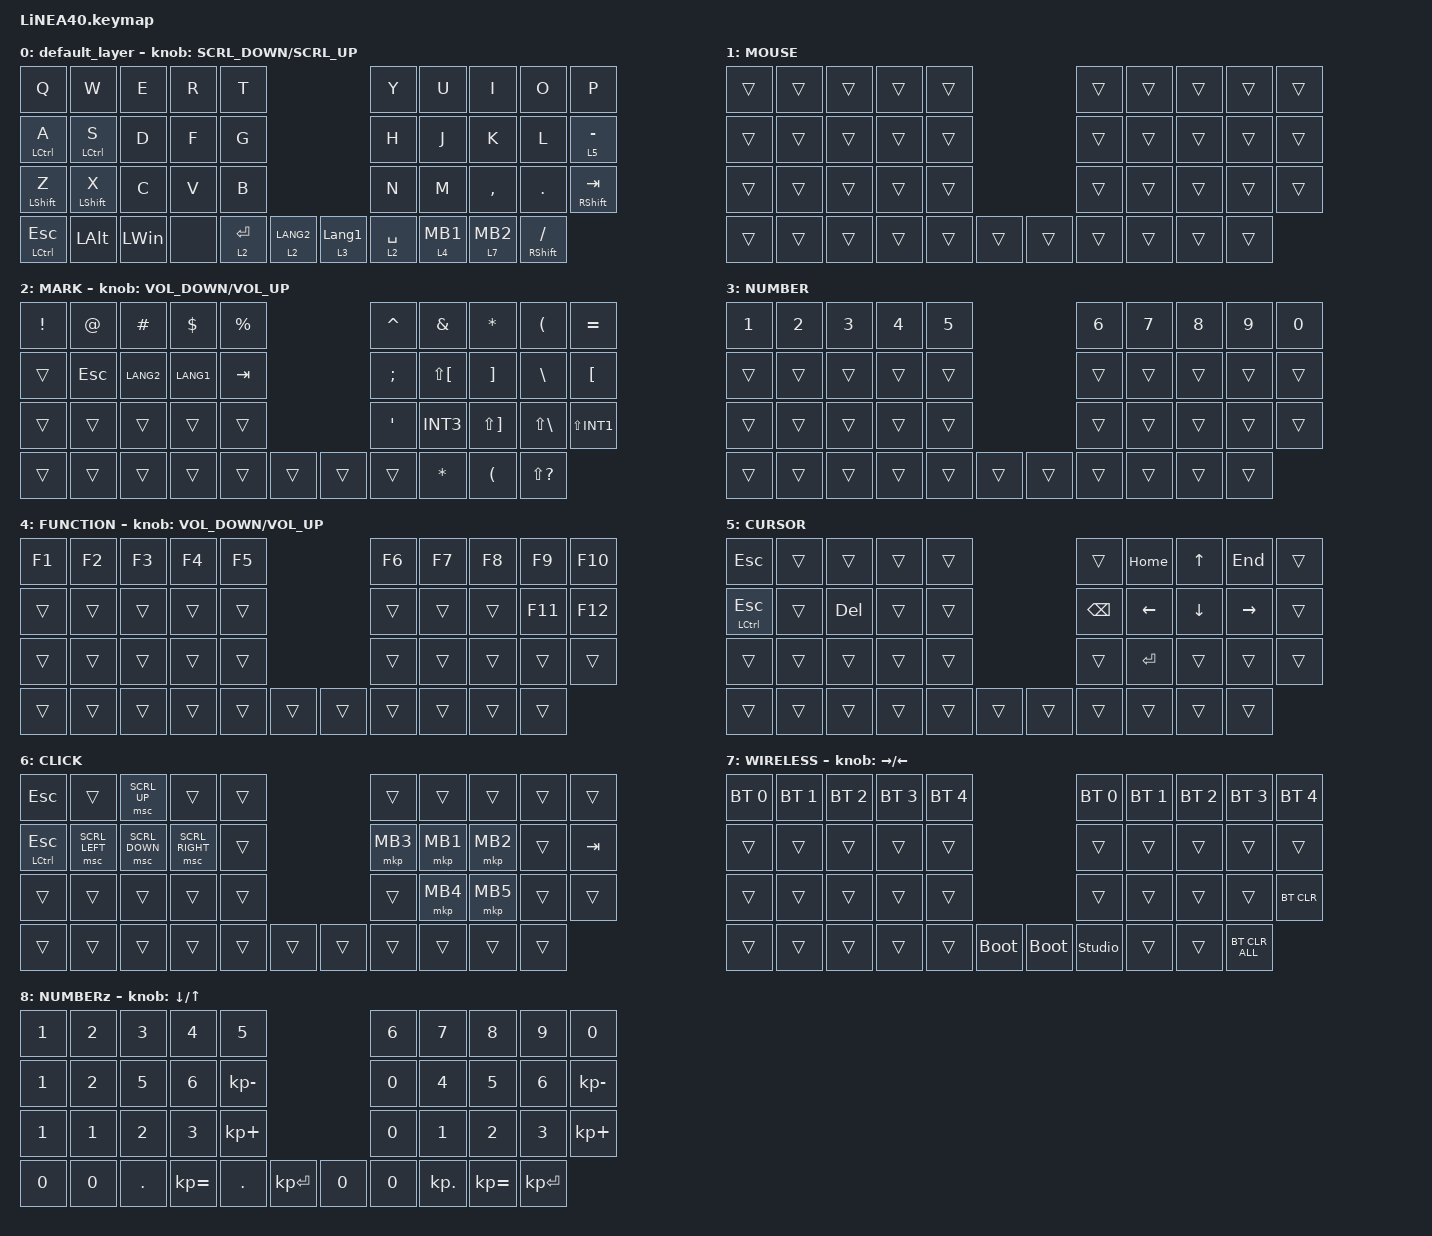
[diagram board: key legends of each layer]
#define ZMK_POINTING_DEFAULT_SCRL_VAL 150

#include <dt-bindings/zmk/input_transform.h>
#include <input/processors.dtsi>
#include <zephyr/dt-bindings/input/input-event-codes.h>
#include <behaviors.dtsi>
#include <dt-bindings/zmk/bt.h>
#include <dt-bindings/zmk/keys.h>
#include <dt-bindings/zmk/pointing.h>

#define MOUSE 1
#define MARK 2
#define CURSOR 3
#define FUNCTION 4
#define SCROLL 5
#define WIRELESS 6

//mouse cursol

&mmv {
    delay-ms = <20>;
    trigger-period-ms = <5>;
    time-to-max-speed-ms = <100>;
    acceleration-exponent = <2>;
};

//mouse scroll

&msc {
    delay-ms = <100>;
    trigger-period-ms = <50>;
    time-to-max-speed-ms = <500>;
    acceleration-exponent = <0>;
};

&mt {
    tapping-term-ms = <280>;
    quick-tap-ms = <175>;
    require-prior-idle-ms = <150>;
    flavor = "balanced";
};

&lt {
    tapping-term-ms = <280>;
    quick-tap-ms = <175>;
    require-prior-idle-ms = <150>;
    flavor = "balanced";
};

/ {
    input_processors {
        zip_wheel_scaler: zip_wheel_scaler {
            compatible = "zmk,input-processor-scaler";
            #input-processor-cells = <2>;
            type = <INPUT_EV_REL>;
            codes = <INPUT_REL_WHEEL>;
            track-remainders;
        };
    };
};

&msc_input_listener {
    speed_up {
        layers = <FUNCTION>;
        input-processors = <&zip_wheel_scaler 3 1>; //スクロールを3倍速にする
    };
};

&trackball_listener {
    scroller {
        layers = <SCROLL>;
        input-processors =
            <&zip_xy_transform INPUT_TRANSFORM_Y_INVERT>,
            //スクロール方向を逆転,,,,,,,,,,,,,,,,,,,,,,
            <&zip_xy_to_scroll_mapper>;
    };
};

/ {
    combos {
        compatible = "zmk,combos";

        MiddleClick {
            bindings = <&mkp MB3>;
            key-positions = <38 39>;
        };

        Escape {
            bindings = <&kp ESCAPE>;
            key-positions = <35 36>;
        };
    };

    behaviors {
        re_kp: sensor_rotate_kp {
            compatible = "zmk,behavior-sensor-rotate-var";
            #sensor-binding-cells = <2>;
            bindings = <&kp>, <&kp>;
        };

        mouse_scrl: mouse_wheel_scrl {
            compatible = "zmk,behavior-sensor-rotate-var";
            #sensor-binding-cells = <2>;
            bindings = <&msc>, <&msc>;

            tap-ms = <20>;
        };

        lt_mkp: lt_mkp {
            compatible = "zmk,behavior-hold-tap";
            label = "LT_MKP";
            bindings = <&mo>, <&mkp>;

            #binding-cells = <2>;
            flavor = "tap-preferred";
            tapping-term-ms = <200>;
        };
    };

    keymap {
        compatible = "zmk,keymap";

        default_layer {
            bindings = <
&kp Q             &kp W             &kp E         &kp R  &kp T                                         &kp Y        &kp U  &kp I          &kp O          &kp P
&mt LCTRL A       &mt LCTRL S       &kp D         &kp F  &kp G                                         &kp H        &kp J  &kp K          &kp L          &lt 5 MINUS
&mt LEFT_SHIFT Z  &mt LEFT_SHIFT X  &kp C         &kp V  &kp B                                         &kp N        &kp M  &kp COMMA      &kp DOT        &mt RIGHT_SHIFT TAB
&mt LCTRL ESC     &kp LEFT_ALT      &kp LEFT_WIN  &none  &lt 2 ENTER  &lt 2 LANG2    &lt 3 LANGUAGE_1  &lt 2 SPACE         &lt_mkp 4 MB1  &lt_mkp 7 MB2  &mt RIGHT_SHIFT SLASH
            >;

            sensor-bindings = <&mouse_scrl SCRL_DOWN SCRL_UP>;
        };

        MOUSE {
            bindings = <
&trans  &trans  &trans  &trans  &trans                    &trans  &trans  &trans  &trans  &trans
&trans  &trans  &trans  &trans  &trans                    &trans  &trans  &trans  &trans  &trans
&trans  &trans  &trans  &trans  &trans                    &trans  &trans  &trans  &trans  &trans
&trans  &trans  &trans  &trans  &trans  &trans    &trans  &trans          &trans  &trans  &trans
            >;
        };

        MARK {
            bindings = <
&kp EXCLAMATION  &kp AT      &kp HASH   &kp DOLLAR  &kp PERCENT                    &kp CARET         &kp AMPERSAND  &kp ASTERISK           &kp LEFT_PARENTHESIS  &kp EQUAL
&trans           &kp ESCAPE  &kp LANG2  &kp LANG1   &kp TAB                        &kp SEMICOLON     &kp LS(LBKT)   &kp RIGHT_BRACKET      &kp BACKSLASH         &kp LBKT
&trans           &trans      &trans     &trans      &trans                         &kp SINGLE_QUOTE  &kp INT3       &kp LS(RIGHT_BRACKET)  &kp LS(BACKSLASH)     &kp LS(INT1)
&trans           &trans      &trans     &trans      &trans       &trans    &trans  &trans                           &kp ASTERISK           &kp LEFT_PARENTHESIS  &kp LS(QUESTION)
            >;

            sensor-bindings = <&re_kp C_VOLUME_DOWN C_VOLUME_UP>;
        };

        NUMBER {
            bindings = <
&kp N1  &kp N2  &kp N3  &kp N4  &kp N5                    &kp N6  &kp N7  &kp N8  &kp N9  &kp N0
&trans  &trans  &trans  &trans  &trans                    &trans  &trans  &trans  &trans  &trans
&trans  &trans  &trans  &trans  &trans                    &trans  &trans  &trans  &trans  &trans
&trans  &trans  &trans  &trans  &trans  &trans    &trans  &trans          &trans  &trans  &trans
            >;
        };

        FUNCTION {
            bindings = <
&kp F1  &kp F2  &kp F3  &kp F4  &kp F5                    &kp F6  &kp F7  &kp F8  &kp F9   &kp F10
&trans  &trans  &trans  &trans  &trans                    &trans  &trans  &trans  &kp F11  &kp F12
&trans  &trans  &trans  &trans  &trans                    &trans  &trans  &trans  &trans   &trans
&trans  &trans  &trans  &trans  &trans  &trans    &trans  &trans          &trans  &trans   &trans
            >;

            sensor-bindings = <&re_kp C_VOLUME_DOWN C_VOLUME_UP>;
        };

        CURSOR {
            bindings = <
&kp ESCAPE        &trans  &trans      &trans  &trans                    &trans         &kp HOME        &kp UP_ARROW    &kp END    &trans
&mt LCTRL ESCAPE  &trans  &kp DELETE  &trans  &trans                    &kp BACKSPACE  &kp LEFT_ARROW  &kp DOWN_ARROW  &kp RIGHT  &trans
&trans            &trans  &trans      &trans  &trans                    &trans         &kp ENTER       &trans          &trans     &trans
&trans            &trans  &trans      &trans  &trans  &trans    &trans  &trans                         &trans          &trans     &trans
            >;
        };

        CLICK {
            bindings = <
&kp ESCAPE        &trans          &msc SCRL_UP    &trans           &trans                    &trans    &trans    &trans    &trans  &trans
&mt LCTRL ESCAPE  &msc SCRL_LEFT  &msc SCRL_DOWN  &msc SCRL_RIGHT  &trans                    &mkp MB3  &mkp MB1  &mkp MB2  &trans  &kp TAB
&trans            &trans          &trans          &trans           &trans                    &trans    &mkp MB4  &mkp MB5  &trans  &trans
&trans            &trans          &trans          &trans           &trans  &trans    &trans  &trans              &trans    &trans  &trans
            >;
        };

        WIRELESS {
            bindings = <
&bt BT_SEL 0  &bt BT_SEL 1  &bt BT_SEL 2  &bt BT_SEL 3  &bt BT_SEL 4                              &bt BT_SEL 0    &bt BT_SEL 1  &bt BT_SEL 2  &bt BT_SEL 3  &bt BT_SEL 4
&trans        &trans        &trans        &trans        &trans                                    &trans          &trans        &trans        &trans        &trans
&trans        &trans        &trans        &trans        &trans                                    &trans          &trans        &trans        &trans        &bt BT_CLR
&trans        &trans        &trans        &trans        &trans        &bootloader    &bootloader  &studio_unlock                &trans        &trans        &bt BT_CLR_ALL
            >;

            sensor-bindings = <&inc_dec_kp RIGHT_ARROW LEFT_ARROW>;
        };

        NUMBERz {
            bindings = <
&kp N1  &kp N2  &kp N3   &kp N4        &kp N5                                &kp N6  &kp N7        &kp N8        &kp N9        &kp N0
&kp N1  &kp N2  &kp N5   &kp N6        &kp KP_MINUS                          &kp N0  &kp NUMBER_4  &kp N5        &kp NUMBER_6  &kp KP_MINUS
&kp N1  &kp N1  &kp N2   &kp N3        &kp KP_PLUS                           &kp N0  &kp NUMBER_1  &kp NUMBER_2  &kp NUMBER_3  &kp KP_PLUS
&kp N0  &kp N0  &kp DOT  &kp KP_EQUAL  &kp DOT       &kp KP_ENTER    &kp N0  &kp N0                &kp KP_DOT    &kp KP_EQUAL  &kp KP_ENTER
            >;

            sensor-bindings = <&inc_dec_kp DOWN_ARROW UP_ARROW>;
        };
    };
};
